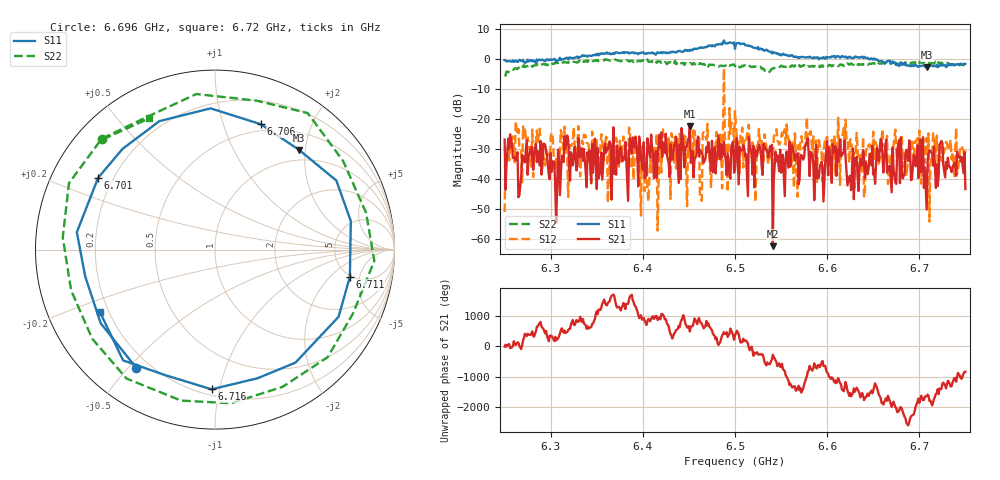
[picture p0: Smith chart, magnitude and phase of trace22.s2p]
# Hz S RI R 50
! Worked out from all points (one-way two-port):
!   401 points, 6.25 GHz to 6.75 GHz, reference 50 ohm
!   highest |S21| = -22.29 dB at 6.451 GHz (marker M1); lowest = -62.2 dB at 6.541 GHz (marker M2)
!   lowest |S11| = -2.8 dB at 6.708 GHz (marker M3), VSWR 6.32, Z = 39.9 + j94 ohm
!   |S11| at or under -10 dB: nowhere
!   |S22| runs from -5.7 to 0.0 dB; largest |S21 - S12| = 0.66
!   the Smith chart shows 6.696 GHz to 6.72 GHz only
!   S11 on the Smith chart (normalised r, x): 6.696 GHz: 0.15, -0.53; 6.701 GHz: 0.14, +0.28; 6.706 GHz: 0.43, +1.34; 6.711 GHz: 4.87, -3.58; 6.716 GHz: 0.24, -0.95; 6.72 GHz: 0.17, -0.25
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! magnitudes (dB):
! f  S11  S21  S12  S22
! 6.25 GHz  -0.4  -26.8  -50.9  -5.7
! 6.265 GHz  -0.8  -46.0  -23.3  -3.0
! 6.334 GHz  1.1  -29.8  -27.1  -1.1
! 6.418 GHz  2.0  -25.2  -29.3  -0.9
! 6.451 GHz  2.6  -22.3  -24.8  -1.4
! 6.461 GHz  3.6  -32.3  -26.4  -1.7
! 6.468 GHz  4.0  -33.0  -25.8  -2.2
! 6.475 GHz  4.2  -27.2  -32.0  -1.9
! 6.5 GHz  3.4  -36.7  -17.3  -2.4
! 6.52 GHz  3.7  -28.8  -37.4  -2.5
! 6.541 GHz  1.8  -62.2  -35.6  -3.1
! 6.584 GHz  0.4  -31.8  -30.5  -2.3
! 6.656 GHz  -0.7  -33.9  -34.8  -1.5
! 6.668 GHz  -0.6  -35.4  -34.7  -1.2
! 6.696 GHz  -2.0  -35.6  -27.6  -1.1
! 6.701 GHz  -2.3  -26.7  -32.6  -0.7
! 6.706 GHz  -2.6  -36.1  -34.5  -1.4
! 6.708 GHz  -2.8  -50.1  -26.3  -1.2
! 6.711 GHz  -2.3  -30.4  -54.0  -1.3
! 6.716 GHz  -2.2  -29.2  -26.8  -1.4
! 6.72 GHz  -2.7  -42.3  -36.4  -1.7
! 6.75 GHz  -1.6  -43.2  -30.5  -2.4
